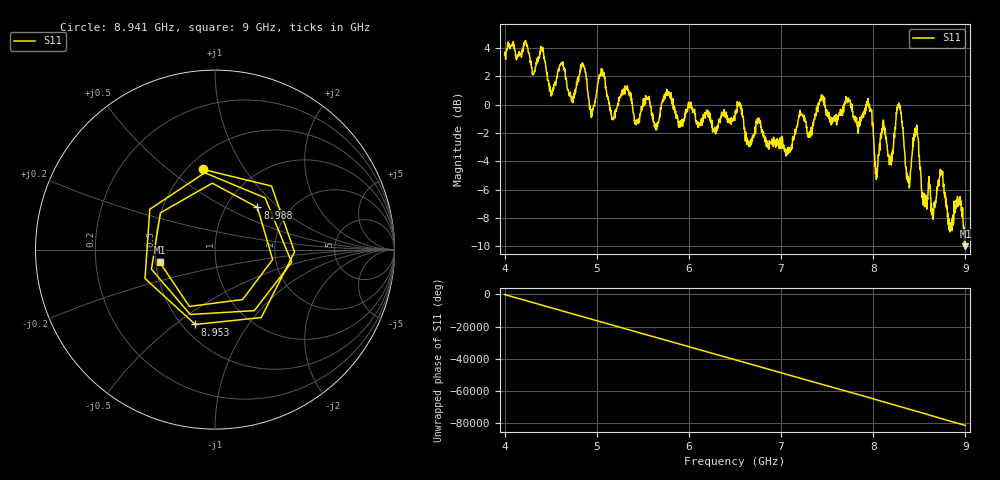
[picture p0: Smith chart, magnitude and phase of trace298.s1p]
! Created with skrf 1.8.0 (http://scikit-rf.org).
# Hz S RI R 50.0
!freq ReS11 ImS11
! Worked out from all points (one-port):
!   1601 points, 4 GHz to 9 GHz, reference 50 ohm
!   lowest |S11| = -10.0 dB at 9 GHz (marker M1), VSWR 1.93, Z = 26.2 - j4.01 ohm
!   |S11| at or under -10 dB: nowhere
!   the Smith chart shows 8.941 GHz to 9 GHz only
!   S11 on the Smith chart (normalised r, x): 8.941 GHz: 0.59, +0.67; 8.953 GHz: 0.58, -0.59; 8.988 GHz: 1.39, +0.74; 9 GHz: 0.52, -0.08
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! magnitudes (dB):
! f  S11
! 4 GHz  3.5
! 4.406 GHz  4.0
! 4.506 GHz  0.6
! 4.625 GHz  3.0
! 4.728 GHz  0.2
! 4.853 GHz  2.7
! 4.944 GHz  -0.5
! 5.053 GHz  2.1
! 5.166 GHz  -1.0
! 5.25 GHz  0.6
! 5.875 GHz  -0.8
! 6.5 GHz  -1.0
! 7.125 GHz  -2.4
! 7.75 GHz  0.3
! 7.959 GHz  0.0
! 8.038 GHz  -4.8
! 8.106 GHz  -1.4
! 8.197 GHz  -4.3
! 8.281 GHz  0.0
! 8.375 GHz  -5.4
! 8.466 GHz  -1.8
! 8.559 GHz  -6.9
! 8.731 GHz  -5.0
! 8.831 GHz  -9.0
! 8.941 GHz  -6.9
! 8.953 GHz  -7.3
! 8.988 GHz  -9.5
! 9 GHz  -10.0
